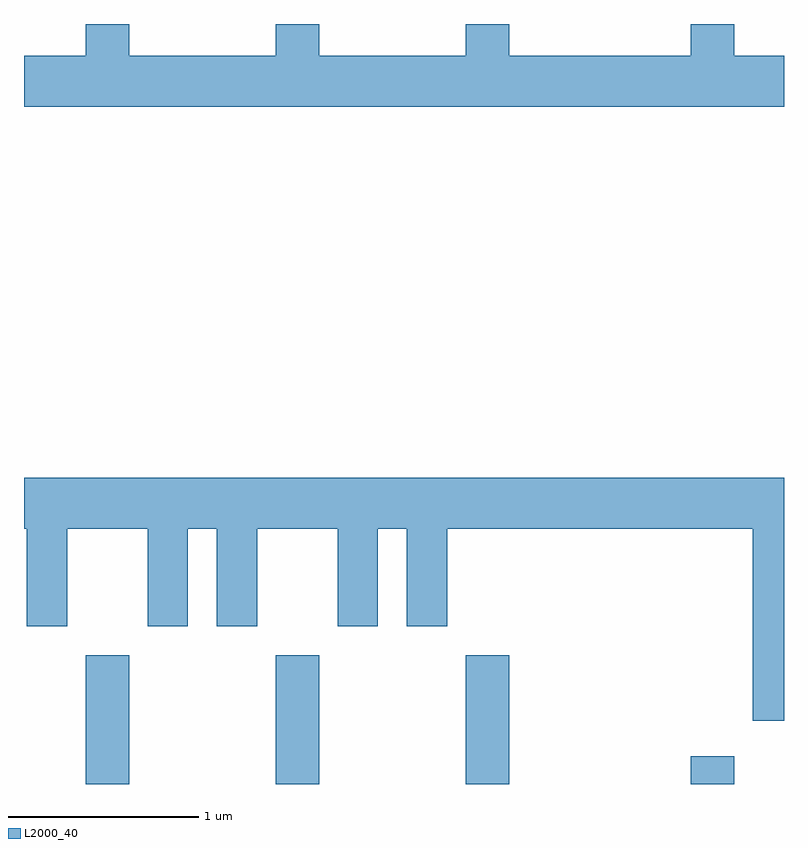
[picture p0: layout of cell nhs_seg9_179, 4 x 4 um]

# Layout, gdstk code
import gdstk
lib = gdstk.Library(unit=1e-6, precision=1e-09)
def R(c, l, rs):  # rectangles x0, y0, x1, y1
    for r in rs: c.add(gdstk.rectangle(r[:2], r[2:], *l))
def A(c, l, x, y, w, h, nx, ny, dx, dy):  # array of equal rectangles
    R(c, l, [(x+i*dx, y+j*dy, x+i*dx+w, y+j*dy+h) for i in range(nx) for j in range(ny)])
def P(c, l, *ps):  # polygons
    for p in ps: c.add(gdstk.Polygon(p, *l))
L2000_40 = (2000, 40)

nhs_seg9_179 = lib.new_cell('nhs_seg9_179')
A(nhs_seg9_179, L2000_40, 189.936, 2030.432, 0.228, 0.677, 3, 1, 1, 0)
R(nhs_seg9_179, L2000_40, [(193.121,2030.432,193.349,2030.579)])
P(nhs_seg9_179, L2000_40, [(193.611,2034.264),(193.349,2034.264),(193.349,2034.432),(193.121,2034.432),(193.121,2034.264),(192.164,2034.264),(192.164,2034.432),(191.936,2034.432),(191.936,2034.264),(191.164,2034.264),(191.164,2034.432),(190.936,2034.432),(190.936,2034.264),(190.164,2034.264),(190.164,2034.432),(189.936,2034.432),(189.936,2034.264),(189.611,2034.264),(189.611,2033.996),(193.611,2033.996)],
  [(193.611,2032.044),(189.611,2032.044),(189.611,2031.776),(189.626,2031.776),(189.626,2031.261),(189.839,2031.261),(189.839,2031.776),(190.261,2031.776),(190.261,2031.261),(190.474,2031.261),(190.474,2031.776),(190.626,2031.776),(190.626,2031.261),(190.839,2031.261),(190.839,2031.776),(191.261,2031.776),(191.261,2031.261),(191.474,2031.261),(191.474,2031.776),(191.626,2031.776),(191.626,2031.261),(191.839,2031.261),(191.839,2031.776),(193.446,2031.776),(193.446,2030.766),(193.611,2030.766)])

lib.write_gds('nhs_seg9_179.gds')
